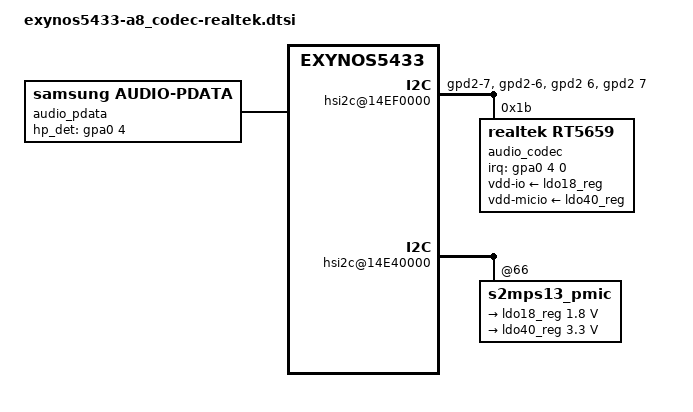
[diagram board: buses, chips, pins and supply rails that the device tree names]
/*
 * SAMSUNG UNIVERSAL5430 board device tree source
 *
 * Copyright (c) 2013 Samsung Electronics Co., Ltd.
 *		http://www.samsung.com
 *
 * This program is free software; you can redistribute it and/or modify
 * it under the terms of the GNU General Public License version 2 as
 * published by the Free Software Foundation.
*/

/ {

	hsi2c@14EF0000 {
		samsung,i2c-sda-delay = <100>;
		samsung,i2c-max-bus-freq = <400000>;
		status = "okay";
		pinctrl-names = "default";
		pinctrl-0 = <&codec_i2c>;
		gpios = <&gpd2 6 0    /* sda */
			 &gpd2 7 0   /* scl */ >;
		#address-cells = <1>;
		#size-cells = <0>;

		audio_codec: rt5659@1b {
			compatible = "realtek,rt5659";
			reg = <0x1b>;
			gpio-controller;
			#gpio-cells = <2>;
			pinctrl-names = "default";
			pinctrl-0 = <&codec_ldoena &codec_reset>;

			interrupts = <4 0 0>;
			interrupt-parent = <&gpa0>;
			realtek,in3-differential = "true";
			realtek,in4-differential = "true";

			/* realtek,push_button_range_def = <0xa324>; */
			/* realtek,push_button_range_def_factory = <0xc324>; */
			vdd-io-supply = <&ldo18_reg>;
			vdd-micio-supply = <&ldo40_reg>;

			dynamic-micbias-ctrl-voltage = <3>;	/* The value must be one of below values
								   0 - 2.7V, 1 - 2.4V, 2 - 2.25V, 3 - 1.8V  */
		};
	};
	audio_pdata {
		compatible = "samsung,audio-pdata";
		hp_det_gpio = <&gpa0 4 0>;
		/*sub_mic_bias_gpio = <&gpr3 2 0>;*/
		status = "okay";
	};
	pinctrl@14CC0000 {
		codec_ldoena: codec-ldoena {
			samsung,pins ="gpv7-3";
            samsung,pin-function = <1>;
            samsung,pin-pud = <0>;
            samsung,pin-pud-pdn = <0>;
			samsung,pin-con-pdn = <3>;
            samsung,pin-val = <1>;
		};
		codec_i2c: codec-i2c {
			samsung,pins = "gpd2-7", "gpd2-6";
			samsung,pin-function = <4>; //HSI2C_3_SDA( GPD1[2) , HSI2C_3_SCL( GPD1[3])
			samsung,pin-pud = <3>;      // 0 (pull_none) 1 (pull_down) 3 (pull_up)
		};
	};
	pinctrl@10580000 {
		codec_reset: codec-reset {
			samsung,pins ="gpf2-1";
            samsung,pin-function = <1>;
            samsung,pin-pud = <0>;
            samsung,pin-pud-pdn = <0>;
			samsung,pin-con-pdn = <3>;
            samsung,pin-val = <1>;
		};
	};
	codec_dummy: dummy-codec {
		compatible = "samsung,dummy-codec";
		status = "okay";
	};
	sound {
		compatible = "samsung,pacific-rt5659";
		samsung,audio-cpu = <&i2s0>;
		samsung,audio-codec = <&audio_codec
				       &audio_codec /* NULL */
				       &audio_codec /* NULL */
				       &audio_codec
				       &audio_codec
				       &audio_codec
				       &audio_codec
				       &audio_codec
				       &audio_codec>;
		clocks = <&clock 4300>;
		clock-names = "mclk";
		status = "okay";
	};
	hsi2c@14E40000 {
		s2mps13_pmic@66 {
				regulators {
				ldo18_reg: LDO18 {
					regulator-name = "vdd_codec_1p8_ap";
					regulator-min-microvolt = <1800000>;
					regulator-max-microvolt = <1800000>;
					regulator-always-on;
				};
				ldo40_reg: LDO40 {
					regulator-name = "vdd_codec_3p3_ap";
					regulator-min-microvolt = <3300000>;
					regulator-max-microvolt = <3300000>;
					regulator-always-on;
				};
			};
		};
	};
};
